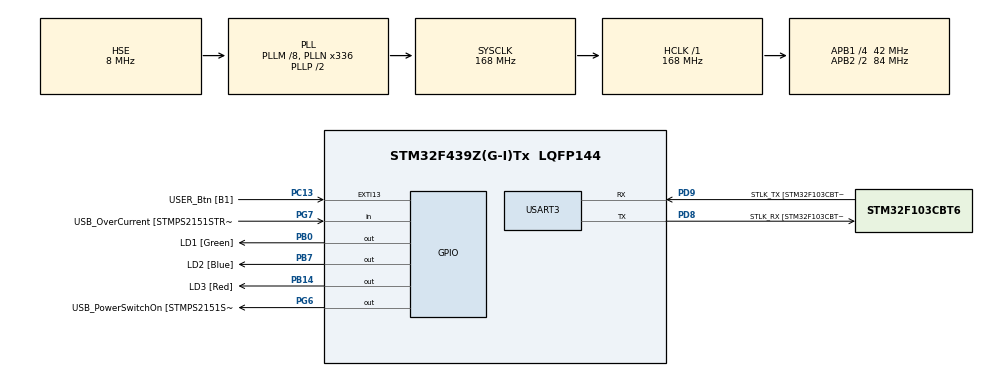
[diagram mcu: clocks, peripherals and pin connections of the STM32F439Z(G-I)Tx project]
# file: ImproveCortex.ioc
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Mcu.Family=STM32F4
Mcu.Name=STM32F439Z(G-I)Tx
Mcu.Package=LQFP144
NVIC.PriorityGroup=NVIC_PRIORITYGROUP_4
PA1.GPIO_Label=RMII_REF_CLK [LAN8742A-CZ-TR_REFCLK0]
PA1.Signal=ETH_REF_CLK
PA10.GPIO_Label=USB_ID
PA10.Signal=USB_OTG_FS_ID
PA11.GPIO_Label=USB_DM
PA11.Signal=USB_OTG_FS_DM
PA12.GPIO_Label=USB_DP
PA12.Signal=USB_OTG_FS_DP
PA13.GPIO_Label=TMS
PA13.Mode=Trace_Asynchronous_SW
PA13.Signal=SYS_JTMS-SWDIO
PA14.GPIO_Label=TCK
PA14.Mode=Trace_Asynchronous_SW
PA14.Signal=SYS_JTCK-SWCLK
PA2.GPIO_Label=RMII_MDIO [LAN8742A-CZ-TR_MDIO]
PA2.Signal=ETH_MDIO
PA7.GPIO_Label=RMII_CRS_DV [LAN8742A-CZ-TR_CRS_DV]
PA7.Signal=ETH_CRS_DV
PA8.GPIO_Label=USB_SOF [TP1]
PA8.Signal=USB_OTG_FS_SOF
PA9.GPIO_Label=USB_VBUS
PA9.Signal=USB_OTG_FS_VBUS
PB0.GPIO_Label=LD1 [Green]
PB0.Signal=GPIO_Output
PB13.GPIO_Label=RMII_TXD1 [LAN8742A-CZ-TR_TXD1]
PB13.Signal=ETH_TXD1
PB14.GPIO_Label=LD3 [Red]
PB14.Signal=GPIO_Output
PB3.Mode=Trace_Asynchronous_SW
PB3.Signal=SYS_JTDO-SWO
PB7.GPIO_Label=LD2 [Blue]
PB7.Signal=GPIO_Output
PC1.GPIO_Label=RMII_MDC [LAN8742A-CZ-TR_MDC]
PC1.Signal=ETH_MDC
PC13.GPIO_Label=USER_Btn [B1]
PC13.Signal=GPXTI13
PC14/OSC32_IN.Mode=LSE-External-Oscillator
PC14/OSC32_IN.Signal=RCC_OSC32_IN
PC15/OSC32_OUT.Mode=LSE-External-Oscillator
PC15/OSC32_OUT.Signal=RCC_OSC32_OUT
PC4.GPIO_Label=RMII_RXD0 [LAN8742A-CZ-TR_RXD0]
PC4.Signal=ETH_RXD0
PC5.GPIO_Label=RMII_RXD1 [LAN8742A-CZ-TR_RXD1]
PC5.Signal=ETH_RXD1
PD8.GPIO_Label=STLK_RX [STM32F103CBT6_PA3]
PD8.Mode=Asynchronous
PD8.Signal=USART3_TX
PD9.GPIO_Label=STLK_TX [STM32F103CBT6_PA2]
PD9.Mode=Asynchronous
PD9.Signal=USART3_RX
PG11.GPIO_Label=RMII_TX_EN [LAN8742A-CZ-TR_TXEN]
PG11.Signal=ETH_TX_EN
PG13.GPIO_Label=RMII_TXD0 [LAN8742A-CZ-TR_TXD0]
PG13.Signal=ETH_TXD0
PG6.GPIO_Label=USB_PowerSwitchOn [STMPS2151STR_EN]
PG6.Signal=GPIO_Output
PG7.GPIO_Label=USB_OverCurrent [STMPS2151STR_FAULT]
PG7.Signal=GPIO_Input
PH0/OSC_IN.GPIO_Label=MCO [STM32F103CBT6_PA8]
PH0/OSC_IN.Mode=HSE-External-Clock-Source
PH0/OSC_IN.Signal=RCC_OSC_IN
PH1/OSC_OUT.Mode=HSE-External-Clock-Source
PH1/OSC_OUT.Signal=RCC_OSC_OUT
ProjectManager.HeapSize=0x200
ProjectManager.StackSize=0x400
ProjectManager.TargetToolchain=CMake
RCC.48MHZClocksFreq_Value=84000000
RCC.AHBFreq_Value=168000000
RCC.APB1CLKDivider=RCC_HCLK_DIV4
RCC.APB1Freq_Value=42000000
RCC.APB1TimFreq_Value=84000000
RCC.APB2CLKDivider=RCC_HCLK_DIV2
RCC.APB2Freq_Value=84000000
RCC.APB2TimFreq_Value=168000000
RCC.CortexFreq_Value=168000000
RCC.HCLKFreq_Value=168000000
RCC.HSE_VALUE=8000000
RCC.HSI_VALUE=16000000
RCC.PLLM=8
RCC.PLLMUL=RCC_PLL_MUL9
RCC.PLLN=336
RCC.PLLSourceVirtual=RCC_PLLSOURCE_HSE
RCC.PRESCALERUSB=RCC_USBCLKSOURCE_PLL_DIV1_5
RCC.SYSCLKFreq_VALUE=168000000
RCC.SYSCLKSource=RCC_SYSCLKSOURCE_PLLCLK
RCC.SYSCLKSourceVirtual=RCC_SYSCLKSOURCE_PLLCLK
RCC.USBFreq_Value=48000000
RCC.VCOOutputFreq_Value=336000000
USART3.VirtualMode=VM_ASYNC
board=NUCLEO-F439ZI

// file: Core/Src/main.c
/* USER CODE BEGIN Header */
/**
 ******************************************************************************
 * @file           : main.c
 * @brief          : Main program body
 ******************************************************************************
 * @attention
 *
 * Copyright (c) 10026 STMicroelectronics.
 * All rights reserved.
 *
 * This software is licensed under terms that can be found in the LICENSE file
 * in the root directory of this software component.
 * If no LICENSE file comes with this software, it is provided AS-IS.
 *
 ******************************************************************************
 */
/* USER CODE END Header */
#include "main.h"
#include "usart.h"
#include "gpio.h"

/* USER CODE BEGIN Includes */
#include "itm.h"
#include "random.h"
#include <complex.h>
#include <stdio.h>
/* USER CODE END Includes */

void SystemClock_Config(void);

/* USER CODE BEGIN 0 */

/*int _write(int file, char *ptr, int len)
  {
    HAL_UART_Transmit(&huart3, (uint8_t*)ptr, len, HAL_MAX_DELAY);
    return len;
  }
*/

/* USER CODE END 0 */

int main(void)
{

  /* USER CODE BEGIN 1 */
  SCB->VTOR = 0x08010000; // Relocate Vector Table to that of the Application
  __DSB();
  __enable_irq();
  // Data Synchronisation Barrier, ensure all following instructions
  // use new VT
  /* USER CODE END 1 */

  /* MCU Configuration--------------------------------------------------------*/

  /* Reset of all peripherals, Initializes the Flash interface and the Systick. */
  HAL_Init();

  /* USER CODE BEGIN Init */

  // HAL_NVIC_SetPriority(SysTick_IRQn, 0, 0);
  __set_PRIMASK(0);

  // ITM_Init();
  //__enable_irq();
  /* USER CODE END Init */

  /* Configure the system clock */
  SystemClock_Config();

  /* USER CODE BEGIN SysInit */
  // ITM_Init();
  /* USER CODE END SysInit */

  /* Initialize all configured peripherals */
  MX_GPIO_Init();
  MX_USART3_UART_Init();
  /* USER CODE BEGIN 2 */

  // Ensure PB3 is set to AF0 (Trace SWO)
  /*Even if CubeMX generates the code, it's safer to f
  orce it at the start of your ITM setup to ensure no other
  peripheral (like an SPI) has "hijacked" the pin: */

  RCC->AHB1ENR |= RCC_AHB1ENR_GPIOBEN;
  GPIOB->MODER = (GPIOB->MODER & ~(3UL << 6)) | (2UL << 6); // AF Mode
  GPIOB->AFR[0] &= ~(0xFUL << 12);                          // AF0 for Pin 3
  GPIOB->OSPEEDR |= (3UL << 6); // Max speed for 168MHz core
                                /* #####################################*/

  /* if ((CoreDebug->DHCSR & CoreDebug_DHCSR_C_DEBUGEN_Msk) &&
      (CoreDebug->DEMCR & CoreDebug_DEMCR_TRCENA_Msk)) {
    //(CoreDebug->DHCSR) & CoreDebug_DHCSR_C_DEBUGEN_Msk;
       // (CoreDebug->DEMCR & CoreDebug_DEMCR_TRCENA_Msk);

        ITM_Init();
  } */
  ITM_Init();
  // ITM_Init_Passive();
  // ITM_Init_Stable();
  // DWT_Init();
  printf("Hello, World!\r\n");
  /* USER CODE END 2 */

  /* Infinite loop */
  /* USER CODE BEGIN WHILE */
  int n = 0;
  // double m=0.0;
  //__enable_irq();
  while (1) {
    HAL_GPIO_WritePin(GPIOB, LD1_Pin, GPIO_PIN_SET);
    HAL_Delay(100);

    HAL_GPIO_WritePin(GPIOB, LD1_Pin, GPIO_PIN_RESET);
    HAL_Delay(100);

    HAL_GPIO_WritePin(GPIOB, LD2_Pin, GPIO_PIN_SET);
    HAL_Delay(100);

    HAL_GPIO_WritePin(GPIOB, LD2_Pin, GPIO_PIN_RESET);
    HAL_Delay(100);

    HAL_GPIO_WritePin(GPIOB, LD3_Pin, GPIO_PIN_SET);
    HAL_Delay(100);

    HAL_GPIO_WritePin(GPIOB, LD3_Pin, GPIO_PIN_RESET);
    HAL_Delay(100);

    n++;
    printf("Random kkkaaaaa: %d\r\n", n);

    printf("Mean: %f\r\n", 9.5);
    printrandom(n);
    printf("Hello, World! %d\r\n", n);
    if (n == 9) {
      n = 0;
    }
    /* USER CODE END WHILE */

  }
}

void SystemClock_Config(void)
{
  RCC_OscInitTypeDef RCC_OscInitStruct = {0};
  RCC_ClkInitTypeDef RCC_ClkInitStruct = {0};

  /** Configure the main internal regulator output voltage
  */
  __HAL_RCC_PWR_CLK_ENABLE();
  __HAL_PWR_VOLTAGESCALING_CONFIG(PWR_REGULATOR_VOLTAGE_SCALE1);

  /** Initializes the RCC Oscillators according to the specified parameters
  * in the RCC_OscInitTypeDef structure.
  */
  RCC_OscInitStruct.OscillatorType = RCC_OSCILLATORTYPE_HSE;
  RCC_OscInitStruct.HSEState = RCC_HSE_BYPASS;
  RCC_OscInitStruct.PLL.PLLState = RCC_PLL_ON;
  RCC_OscInitStruct.PLL.PLLSource = RCC_PLLSOURCE_HSE;
  RCC_OscInitStruct.PLL.PLLM = 8;
  RCC_OscInitStruct.PLL.PLLN = 336;
  RCC_OscInitStruct.PLL.PLLP = RCC_PLLP_DIV2;
  RCC_OscInitStruct.PLL.PLLQ = 4;
  if (HAL_RCC_OscConfig(&RCC_OscInitStruct) != HAL_OK)
  {
    Error_Handler();
  }

  /** Initializes the CPU, AHB and APB buses clocks
  */
  RCC_ClkInitStruct.ClockType = RCC_CLOCKTYPE_HCLK|RCC_CLOCKTYPE_SYSCLK
                              |RCC_CLOCKTYPE_PCLK1|RCC_CLOCKTYPE_PCLK2;
  RCC_ClkInitStruct.SYSCLKSource = RCC_SYSCLKSOURCE_PLLCLK;
  RCC_ClkInitStruct.AHBCLKDivider = RCC_SYSCLK_DIV1;
  RCC_ClkInitStruct.APB1CLKDivider = RCC_HCLK_DIV4;
  RCC_ClkInitStruct.APB2CLKDivider = RCC_HCLK_DIV2;

  if (HAL_RCC_ClockConfig(&RCC_ClkInitStruct, FLASH_LATENCY_5) != HAL_OK)
  {
    Error_Handler();
  }
}

void Error_Handler(void)
{
  __disable_irq();
  while (1) {
  }
}
#ifdef USE_FULL_ASSERT
/**
  * @brief  Reports the name of the source file and the source line number
  *         where the assert_param error has occurred.
  * @param  file: pointer to the source file name
  * @param  line: assert_param error line source number
  * @retval None
  */
void assert_failed(uint8_t *file, uint32_t line)
{
  /* USER CODE BEGIN 6 */
  /* User can add his own implementation to report the file name and line
     number, ex: printf("Wrong parameters value: file %s on line %d\r\n", file,
     line) */
  /* USER CODE END 6 */
}
#endif /* USE_FULL_ASSERT */
